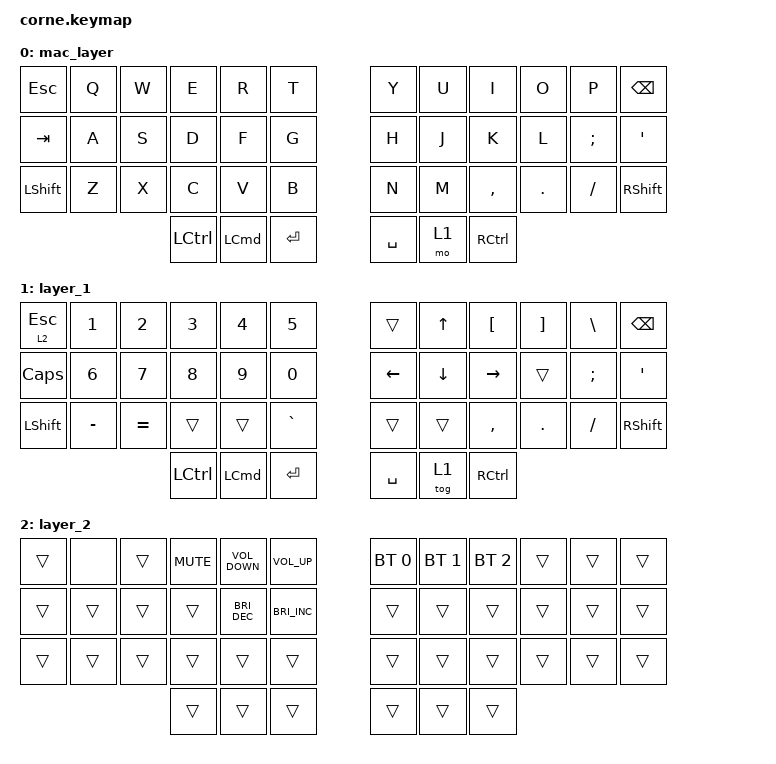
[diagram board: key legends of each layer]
/*
 * Copyright (c) 2020 The ZMK Contributors
 *
 * SPDX-License-Identifier: MIT
 */

#include <behaviors.dtsi>
#include <dt-bindings/zmk/bt.h>
#include <dt-bindings/zmk/keys.h>
#include <dt-bindings/zmk/keys.h>

/ {
    combos {
        compatible = "zmk,combos";

        combo1 {
            bindings = <&kp LBKT>;
            key-positions = <3 4>;
        };

        combo2 {
            bindings = <&kp RBKT>;
            key-positions = <7 8>;
        };

        combo3 {
            bindings = <&kp LEFT_PARENTHESIS>;
            key-positions = <15 16>;
        };

        combo4 {
            bindings = <&kp RIGHT_PARENTHESIS>;
            key-positions = <19 20>;
        };

        combo5 {
            bindings = <&kp LEFT_BRACE>;
            key-positions = <27 28>;
        };

        combo6 {
            bindings = <&kp RIGHT_BRACE>;
            key-positions = <31 32>;
        };

        combo7 {
            bindings = <&kp BACKSLASH>;
            key-positions = <5 6>;
        };

        combo8 {
            bindings = <&kp PIPE>;
            key-positions = <17 18>;
        };

        combo9 {
            bindings = <&to 0>;
            key-positions = <1 10>;
        };

        combo10 {
            bindings = <&to 0>;
            key-positions = <2 9>;
        };
    };

    behaviors {
        tab_esc_ctrl: tab_esc_ctrl {
            compatible = "zmk,behavior-tap-dance";
            label = "TAB_ESC_CTRL";
            #binding-cells = <0>;
            bindings = <&mt LCTRL ESC>, <&kp TAB>;
        };

        gqt: global-quick-tap {
            compatible = "zmk,behavior-hold-tap";
            label = "GLOBAL_QUICK_TAP";
            bindings = <&kp>, <&kp>;

            #binding-cells = <2>;
            tapping-term-ms = <300>;
            quick-tap-ms = <180>;
            global-quick-tap;
            flavor = "tap-preferred";
        };

        ltq: ltq {
            compatible = "zmk,behavior-hold-tap";
            label = "LTQ";
            bindings = <&mo>, <&kp>;

            #binding-cells = <2>;
            tapping-term-ms = <200>;
            quick-tap-ms = <180>;
            global-quick-tap;
        };

        caps_esc_ctrl: caps_esc_ctrl {
            compatible = "zmk,behavior-tap-dance";
            label = "CAPS_ESC_CTRL";
            #binding-cells = <0>;
            bindings = <&mt LCTRL ESC>, <&kt CAPSLOCK>;
        };
    };

    keymap {
        compatible = "zmk,keymap";

        mac_layer {
            bindings = <
&kp ESC         &kp Q  &kp W  &kp E      &kp R     &kp T        &kp Y      &kp U  &kp I              &kp O    &kp P          &kp BACKSPACE
&kp TAB         &kp A  &kp S  &kp D      &kp F     &kp G        &kp H      &kp J  &kp K              &kp L    &kp SEMICOLON  &kp SQT
&kp LEFT_SHIFT  &kp Z  &kp X  &kp C      &kp V     &kp B        &kp N      &kp M  &kp COMMA          &kp DOT  &kp FSLH       &kp RIGHT_SHIFT
                              &kp LCTRL  &kp LCMD  &kp ENTER    &kp SPACE  &mo 1  &kp RIGHT_CONTROL
            >;
        };

        layer_1 {
            bindings = <
&lt 2 ESC       &kp NUMBER_1  &kp NUMBER_2  &kp NUMBER_3  &kp NUMBER_4  &kp N5       &trans          &kp UP_ARROW    &kp LEFT_BRACKET   &kp RIGHT_BRACKET  &kp BACKSLASH  &kp BACKSPACE
&kp CAPS        &kp NUMBER_6  &kp N7        &kp N8        &kp N9        &kp N0       &kp LEFT_ARROW  &kp DOWN_ARROW  &kp RIGHT_ARROW    &trans             &kp SEMICOLON  &kp SQT
&kp LEFT_SHIFT  &kp MINUS     &kp EQUAL     &trans        &trans        &kp GRAVE    &trans          &trans          &kp COMMA          &kp DOT            &kp FSLH       &kp RIGHT_SHIFT
                                            &kp LCTRL     &kp LCMD      &kp ENTER    &kp SPACE       &tog 1          &kp RIGHT_CONTROL
            >;
        };

        layer_2 {
            bindings = <
&trans  &none   &trans  &kp K_MUTE  &kp C_VOLUME_DOWN     &kp C_VOLUME_UP         &bt BT_SEL 0  &bt BT_SEL 1  &bt BT_SEL 2  &trans  &trans  &trans
&trans  &trans  &trans  &trans      &kp C_BRIGHTNESS_DEC  &kp C_BRIGHTNESS_INC    &trans        &trans        &trans        &trans  &trans  &trans
&trans  &trans  &trans  &trans      &trans                &trans                  &trans        &trans        &trans        &trans  &trans  &trans
                        &trans      &trans                &trans                  &trans        &trans        &trans
            >;
        };
    };
};
